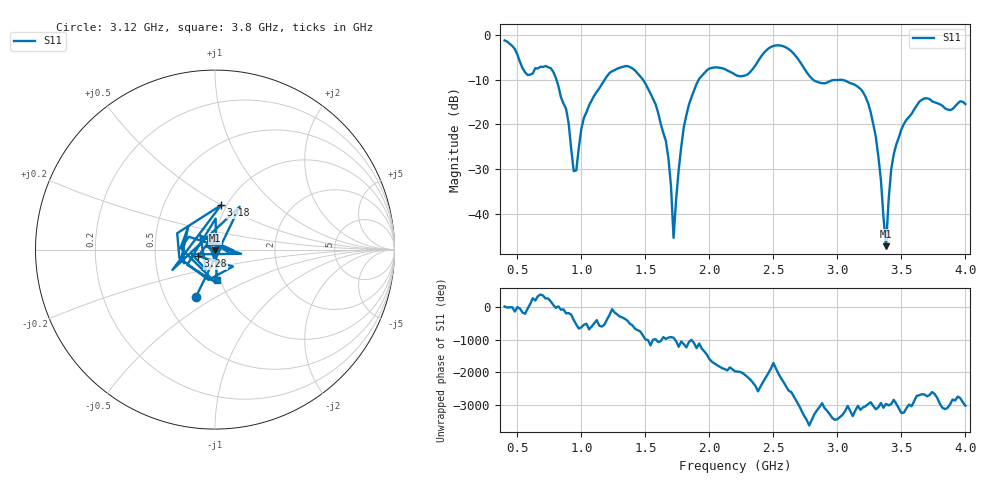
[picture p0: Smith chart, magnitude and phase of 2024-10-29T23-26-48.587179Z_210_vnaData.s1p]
!Created with skrf (http://scikit-rf.org).
# Hz S RI R 50.0
!freq ReS11 ImS11
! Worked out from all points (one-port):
!   181 points, 400 MHz to 4 GHz, reference 50 ohm
!   lowest |S11| = -47.2 dB at 3.38 GHz (marker M1), VSWR 1.01, Z = 50 - j0.437 ohm
!   |S11| at or under -10 dB: 804.7 MHz to 1.182 GHz (377.3 MHz wide, 38 % of centre); 1.481 GHz to 1.917 GHz (435.9 MHz wide, 25.7 % of centre); 2.81 GHz to end of sweep
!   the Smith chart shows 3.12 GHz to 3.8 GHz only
!   S11 on the Smith chart (normalised r, x): 3.12 GHz: 0.71, -0.41; 3.18 GHz: 0.94, +0.50; 3.28 GHz: 0.83, -0.06; 3.8 GHz: 0.96, -0.33
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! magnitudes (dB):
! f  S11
! 400 MHz  -1.3
! 580 MHz  -9.0
! 760 MHz  -7.4
! 860 MHz  -15.3
! 960 MHz  -30.2
! 1 GHz  -20.9
! 1.06 GHz  -15.7
! 1.3 GHz  -7.3
! 1.58 GHz  -15.5
! 1.68 GHz  -27.6
! 1.72 GHz  -45.3
! 1.76 GHz  -30.2
! 1.82 GHz  -17.9
! 1.92 GHz  -9.8
! 2.2 GHz  -8.9
! 2.66 GHz  -4.2
! 2.82 GHz  -10.2
! 3.1 GHz  -10.8
! 3.12 GHz  -10.9
! 3.18 GHz  -12.1
! 3.28 GHz  -19.9
! 3.34 GHz  -32.4
! 3.38 GHz  -47.2
! 3.4 GHz  -36.9
! 3.44 GHz  -26.7
! 3.56 GHz  -18.3
! 3.8 GHz  -15.5
! 4 GHz  -15.4
